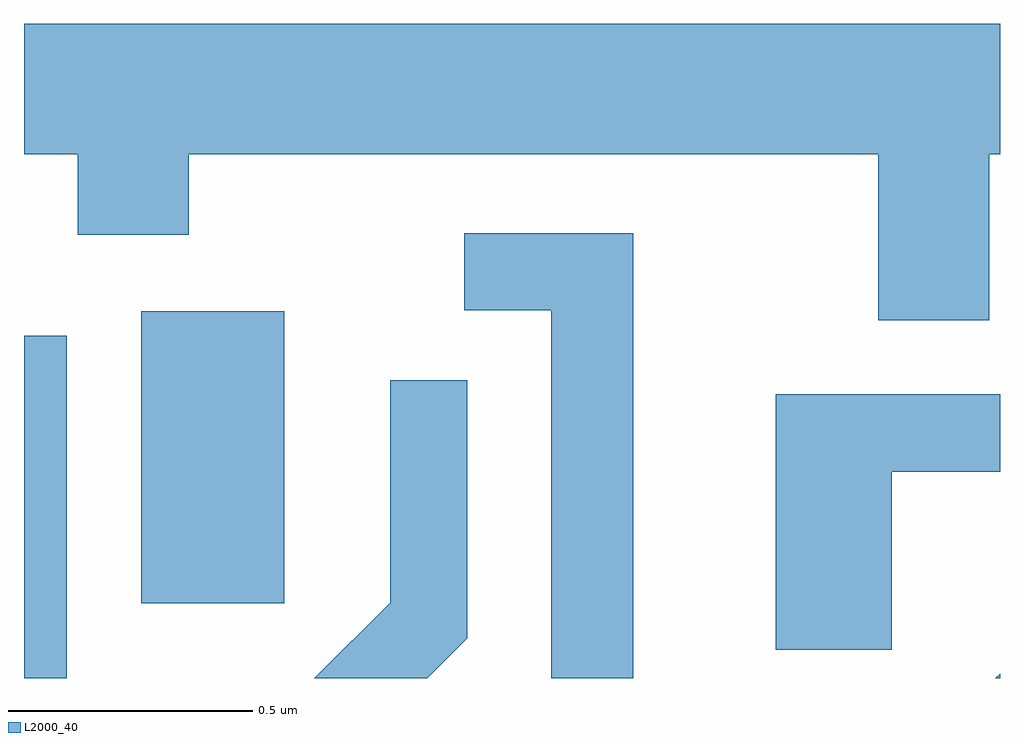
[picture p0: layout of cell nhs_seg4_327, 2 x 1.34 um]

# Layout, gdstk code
import gdstk
lib = gdstk.Library(unit=1e-6, precision=1e-09)
def R(c, l, rs):  # rectangles x0, y0, x1, y1
    for r in rs: c.add(gdstk.rectangle(r[:2], r[2:], *l))
def P(c, l, *ps):  # polygons
    for p in ps: c.add(gdstk.Polygon(p, *l))
L2000_40 = (2000, 40)

nhs_seg4_327 = lib.new_cell('nhs_seg4_327')
R(nhs_seg4_327, L2000_40, [(187.611,1306.982,187.699,1307.684), (187.851,1307.136,188.144,1307.734)])
P(nhs_seg4_327, L2000_40, [(189.589,1308.056),(189.611,1308.056),(189.611,1308.324),(187.611,1308.324),(187.611,1308.056),(187.721,1308.056),(187.721,1307.891),(187.949,1307.891),(187.949,1308.056),(189.361,1308.056),(189.361,1307.716),(189.589,1307.716)],
  [(188.859,1307.894),(188.513,1307.894),(188.513,1307.736),(188.691,1307.736),(188.691,1306.982),(188.859,1306.982)],
  [(188.519,1307.064),(188.519,1307.593),(188.361,1307.593),(188.361,1307.137),(188.206,1306.982),(188.437,1306.982)],
  [(189.389,1307.406),(189.611,1307.406),(189.611,1307.564),(189.151,1307.564),(189.151,1307.041),(189.389,1307.041)],
  [(189.611,1306.992),(189.601,1306.982),(189.611,1306.982)])

lib.write_gds('nhs_seg4_327.gds')
